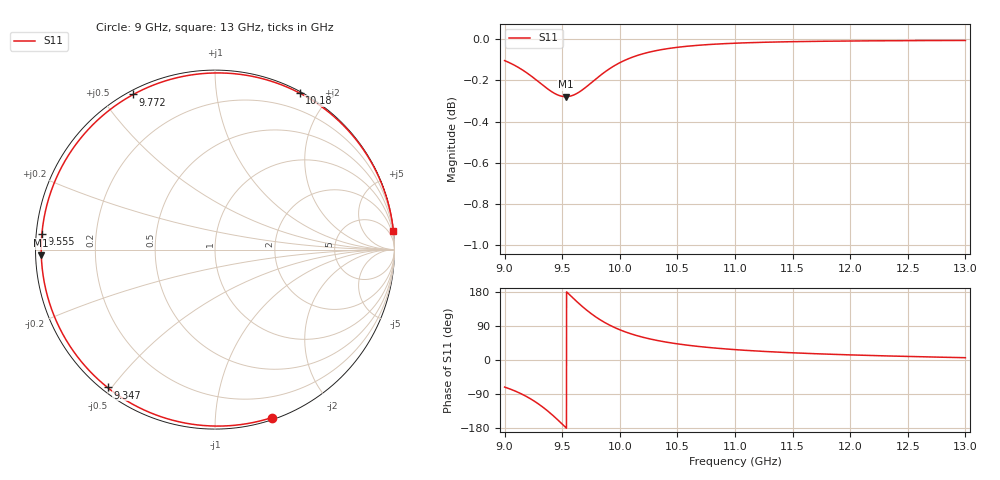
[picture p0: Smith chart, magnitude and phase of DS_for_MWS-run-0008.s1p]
! TOUCHSTONE file generated by CST DESIGN STUDIO
! Date and time: Tue Feb  4 17:32:19 2025
! Project name: C:\Work\MatlabApps\UnitCellOptimizationMatlab\CST\unitcell.cst
! Tree item: Tasks\Sweep1\SPara1\S-Parameters
! Header version: 2024
! Port assignment regex: !\s*Touchstone port\s*([0-9]+)\s*=\s*(CST MWS port|CST DES external port|CST DES block port)\s*(.+)\s* \(\"(.*)\"\)(\s*mode\s*([0-9]+))?.*
! Touchstone port assignment:
! Touchstone port 1 = CST DES external port 1 ("")
# GHz S MA R 50
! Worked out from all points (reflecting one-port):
!   4001 points, 9 GHz to 13 GHz, reference 50 ohm
!   lowest |S11| = -0.3 dB at 9.531 GHz (marker M1), VSWR 62.20, Z = 0.804 - j0.802 ohm
!   phase of S11 starts at -71 deg and turns -283 deg over the sweep
!   S11 on the Smith chart (normalised r, x): 9 GHz: 0.02, -1.39; 9.347 GHz: 0.02, -0.49; 9.555 GHz: 0.02, +0.05; 9.772 GHz: 0.02, +0.60; 10.18 GHz: 0.02, +1.68; 13 GHz: 0, +19
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9  0.9881 -71.4
9.097  0.9852 -82.7
9.204  0.9809 -98.7
9.279  0.9773 -112.9
9.347  0.9739 -127.9
9.419  0.9707 -146.2
9.461  0.9693 -157.9
9.5  0.9685 -169.1
9.531  0.9684 -178.2
9.555  0.9685 174.8
9.609  0.9695 159.1
9.67  0.9718 142.4
9.721  0.9743 129.5
9.772  0.977 117.8
9.82  0.9794 107.9
9.873  0.982 98.3
9.932  0.9845 88.9
10  0.9869 79.7
10.086  0.9894 70.1
10.18  0.9915 61.6
10.326  0.9938 51.5
10.5  0.9955 42.6
10.721  0.9968 34.5
11  0.9978 27.4
11.5  0.9986 19.0
12  0.999 13.5
12.5  0.9992 9.4
13  0.9993 6.1
